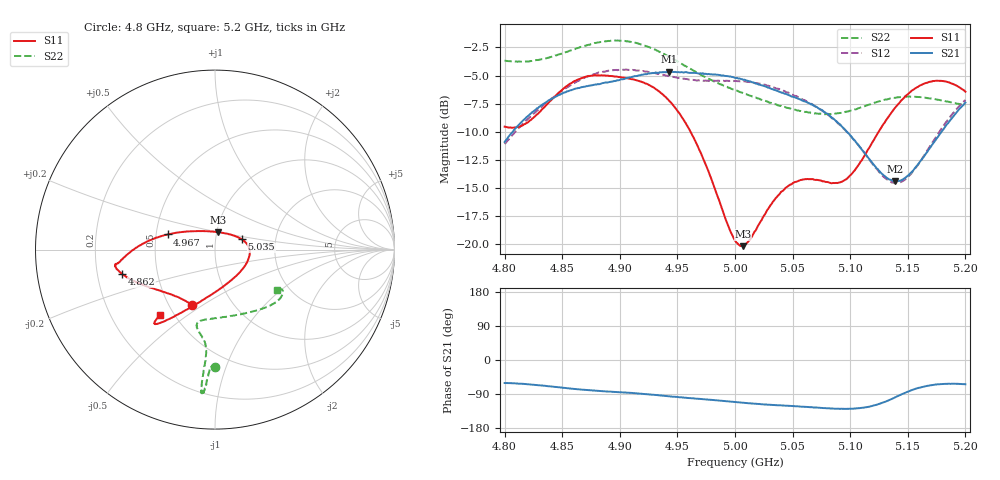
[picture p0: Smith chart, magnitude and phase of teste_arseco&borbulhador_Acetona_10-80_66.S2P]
! Network Analyzer HP8722D
! Hewlett-Packard
! Data name: Linha & Wilkinson
! Saver's name: Rodrigo Anjos
! Comments: Teste da utilização de aquisição
! continua pelo VNA HP8722D
! Time and date: 17/4/2025 14:54
!  Frequency  S11  S21  S12  S22
# HZ  S  MA R 50
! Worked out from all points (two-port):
!   401 points, 4.8 GHz to 5.2 GHz, reference 50 ohm
!   highest |S21| = -4.67 dB at 4.943 GHz (marker M1); lowest = -14.4 dB at 5.139 GHz (marker M2)
!   |S21| within 3 dB of the highest: 4.832 GHz to 5.068 GHz (236.5 MHz wide, 4.78 % of centre); 5.197737 GHz to end of sweep
!   lowest |S11| = -20.2 dB at 5.007 GHz (marker M3), VSWR 1.22, Z = 50.8 + j9.9 ohm
!   |S11| at or under -10 dB: 4.961 GHz to 5.125 GHz (163.3 MHz wide, 3.24 % of centre)
!   |S22| runs from -8.4 to -1.9 dB; largest |S21 - S12| = 0.88
!   S11 on the Smith chart (normalised r, x): 4.8 GHz: 0.65, -0.45; 4.862 GHz: 0.31, -0.12; 4.967 GHz: 0.58, +0.11; 5.035 GHz: 1.34, +0.16; 5.2 GHz: 0.42, -0.40
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4.8e9  0.3333 -113.0  0.2847 -60.8  0.2792 -174.9  0.6554 -89.8
4.82e9  0.3475 -133.8  0.3704 -63.9  0.3598 -173.3  0.65 -91.5
4.862e9  0.5345 -165.3  0.4927 -76.9  0.5267 -176.4  0.7424 -93.6
4.867e9  0.5482 -167.2  0.4994 -78.2  0.5423 -177.3  0.7554 -93.8
4.9e9  0.5539 -171.8  0.5377 -84.9  0.5969 175.9  0.8036 -95.0
4.934e9  0.4788 -177.8  0.5796 -93.4  0.5723 171.9  0.7183 -95.5
4.943e9  0.4335 178.2  0.5844 -95.9  0.559 172.0  0.6806 -95.4
4.967e9  0.2772 162.3  0.5764 -102.1  0.5338 174.0  0.5801 -94.9
5e9  0.104 103.7  0.5494 -110.9  0.5328 176.4  0.4842 -99.0
5.007e9  0.09807 79.5  0.5386 -112.7  0.5297 176.3  0.4696 -100.7
5.013e9  0.1047 60.8  0.5292 -114.4  0.5257 176.0  0.4574 -102.0
5.035e9  0.1596 21.3  0.4842 -118.9  0.4947 175.0  0.4195 -103.3
5.05e9  0.1867 5.9  0.4527 -121.6  0.4626 174.3  0.3987 -99.7
5.067e9  0.1949 -12.2  0.4188 -124.6  0.4191 173.8  0.3835 -91.0
5.085e9  0.1873 -40.3  0.3627 -128.2  0.3611 173.7  0.3808 -77.7
5.097e9  0.195 -64.9  0.3168 -128.9  0.317 174.6  0.3885 -67.6
5.134e9  0.3735 -115.7  0.194 -105.6  0.1906 -158.5  0.4436 -43.0
5.139e9  0.4045 -118.8  0.1906 -98.7  0.1874 -150.6  0.4482 -40.7
5.151e9  0.4695 -123.9  0.2038 -82.4  0.2015 -131.7  0.4538 -36.2
5.17e9  0.5287 -128.3  0.2711 -66.5  0.2762 -112.7  0.445 -31.8
5.184e9  0.5272 -129.7  0.3419 -63.0  0.3528 -107.1  0.4313 -30.8
5.2e9  0.4768 -130.2  0.4263 -64.1  0.438 -106.2  0.4148 -33.1
